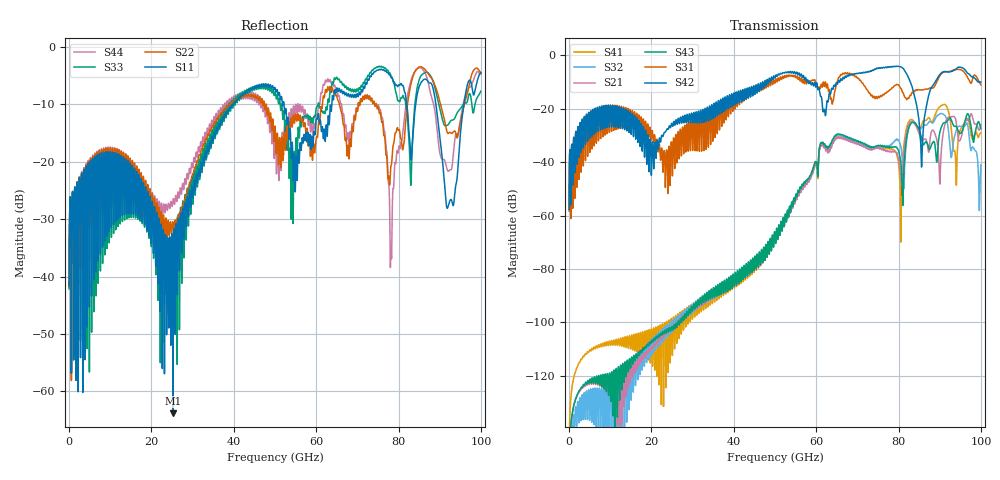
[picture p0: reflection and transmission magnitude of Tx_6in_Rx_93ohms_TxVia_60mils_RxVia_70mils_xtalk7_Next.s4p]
! Info: Touchstone file created by Circ.  Input file=Tx_6in_Rx_93ohms_TxVia_60mils_RxVia_70mils.circ
# Hz S RI R 50
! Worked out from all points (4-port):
!   10000 points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, 10 MHz to 100 GHz, reference 50 ohm
!   strongest paths, dB at 10 MHz, 25.01 GHz, 50.01 GHz, 75.01 GHz, 100 GHz:
!     S42: -57.7, -25.8, -8.4, -5.0, -10.0
!     S31: -58.4, -37.6, -10.3, -15.6, -11.1
!     S43: -154.5, -101.9, -67.3, -33.7, -27.4
!     S21: -167.0, -102.1, -68.3, -34.8, -26.0
!     S32: -170.2, -99.7, -68.0, -34.1, -41.0
!     S41: -150.3, -105.6, -68.5, -34.4, -29.0
!   lowest |S11| = -63.8 dB at 25.22 GHz (marker M1), VSWR 1.00, Z = 49.9 - j0.03 ohm
!   |S11| at or under -10 dB: start of sweep to 39.94 GHz; 52.2 GHz to 63.78 GHz (11.58 GHz wide, 20 % of centre); 89.08 GHz to 95.86 GHz (6.789 GHz wide, 7.34 % of centre) (the widest 3 of 5)
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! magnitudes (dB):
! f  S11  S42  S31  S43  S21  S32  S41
! 10 MHz  -41.5  -57.7  -58.4  -154.5  -167.0  -170.2  -150.3
! 25.22 GHz  -63.8  -26.4  -35.0  -102.7  -101.7  -103.3  -100.7
! 45.65 GHz  -6.6  -14.1  -14.0  -74.5  -76.4  -75.6  -76.2
! 65.17 GHz  -7.4  -10.8  -9.7  -29.6  -31.2  -30.0  -30.7
! 78.22 GHz  -5.4  -4.4  -12.6  -34.4  -36.0  -33.4  -35.0
! 85.58 GHz  -6.1  -41.7  -13.0  -31.1  -31.8  -27.3  -26.2
! 100 GHz  -4.4  -10.0  -11.1  -27.4  -26.0  -41.0  -29.0
